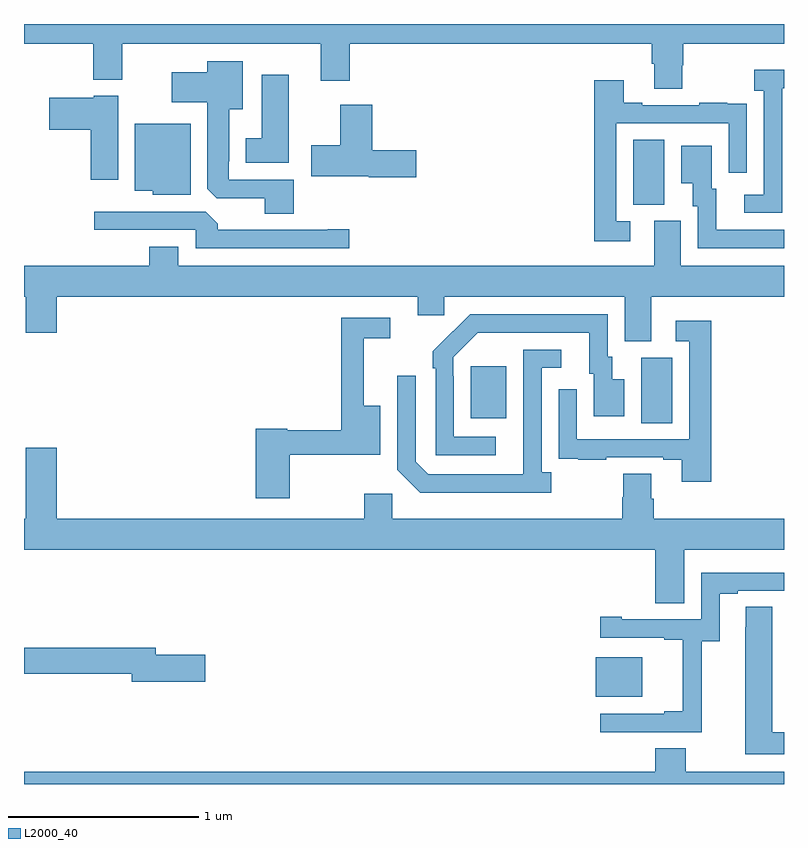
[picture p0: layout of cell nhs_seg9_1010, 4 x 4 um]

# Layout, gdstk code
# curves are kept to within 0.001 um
import gdstk
lib = gdstk.Library(unit=1e-6, precision=1e-09)
def R(c, l, rs):  # rectangles x0, y0, x1, y1
    for r in rs: c.add(gdstk.rectangle(r[:2], r[2:], *l))
def P(c, l, *ps):  # polygons
    for p in ps: c.add(gdstk.Polygon(p, *l))
L2000_40 = (2000, 40)

nhs_seg9_1010 = lib.new_cell('nhs_seg9_1010')
R(nhs_seg9_1010, L2000_40, [(168.008,1216.958,168.253,1217.167), (168.248,1218.4,168.412,1218.744), (167.351,1218.425,167.539,1218.7), (168.206,1219.549,168.37,1219.892)])
P(nhs_seg9_1010, L2000_40, [(168.465,1220.283),(168.47,1220.283),(168.47,1220.396),(169,1220.396),(169,1220.5),(165,1220.5),(165,1220.396),(165.365,1220.396),(165.365,1220.207),(165.517,1220.207),(165.517,1220.396),(166.562,1220.396),(166.562,1220.202),(166.715,1220.202),(166.715,1220.396),(168.305,1220.396),(168.305,1220.29),(168.317,1220.29),(168.317,1220.158),(168.465,1220.158)],
  [(166.421,1219.68),(166.077,1219.68),(166.077,1219.777),(166.081,1219.777),(166.081,1220.051),(166.15,1220.051),(166.15,1220.305),(165.965,1220.305),(165.965,1220.245),(165.777,1220.245),(165.777,1220.087),(165.965,1220.087),(165.965,1219.633),(166.014,1219.584),(166.268,1219.584),(166.268,1219.501),(166.421,1219.501)],
  [(168.99,1219.963),(168.991,1219.963),(168.991,1220.163),(169,1220.163),(169,1220.26),(168.843,1220.26),(168.843,1220.15),(168.894,1220.15),(168.894,1219.602),(168.792,1219.602),(168.792,1219.506),(168.99,1219.506)],
  [(166.393,1220.233),(166.25,1220.233),(166.25,1219.9),(166.166,1219.9),(166.166,1219.769),(166.393,1219.769)],
  [(168.19,1219.461),(168.117,1219.461),(168.117,1219.977),(168.708,1219.977),(168.708,1219.716),(168.804,1219.716),(168.804,1219.97),(168.803,1219.97),(168.803,1220.079),(168.701,1220.079),(168.701,1220.086),(168.553,1220.086),(168.553,1220.073),(168.253,1220.073),(168.253,1220.086),(168.157,1220.086),(168.157,1220.203),(168.001,1220.203),(168.001,1219.356),(168.19,1219.356)],
  [(165.496,1220.122),(165.366,1220.122),(165.366,1220.113),(165.132,1220.113),(165.132,1219.943),(165.35,1219.943),(165.35,1219.68),(165.496,1219.68)],
  [(167.065,1219.835),(166.832,1219.835),(166.832,1220.074),(166.664,1220.074),(166.664,1219.863),(166.512,1219.863),(166.512,1219.7),(166.815,1219.7),(166.815,1219.693),(167.065,1219.693)],
  [(165.877,1219.975),(165.584,1219.975),(165.584,1219.622),(165.678,1219.622),(165.678,1219.601),(165.877,1219.601)],
  [(169,1219.416),(168.643,1219.416),(168.643,1219.632),(168.619,1219.632),(168.619,1219.858),(168.458,1219.858),(168.458,1219.661),(168.521,1219.661),(168.521,1219.542),(168.546,1219.542),(168.546,1219.32),(169,1219.32)],
  [(166.711,1219.421),(166.598,1219.421),(166.598,1219.416),(166.019,1219.416),(166.019,1219.45),(165.957,1219.512),(165.369,1219.512),(165.369,1219.416),(165.903,1219.416),(165.903,1219.32),(166.711,1219.32)],
  [(168.301,1219.064),(169,1219.064),(169,1219.228),(168.457,1219.228),(168.457,1219.464),(168.317,1219.464),(168.317,1219.228),(165.811,1219.228),(165.811,1219.327),(165.659,1219.327),(165.659,1219.228),(165,1219.228),(165,1219.064),(165.008,1219.064),(165.008,1218.876),(165.172,1218.876),(165.172,1219.064),(167.072,1219.064),(167.072,1218.966),(167.211,1218.966),(167.211,1219.064),(168.161,1219.064),(168.161,1218.829),(168.301,1218.829)],
  [(167.482,1218.327),(167.262,1218.327),(167.262,1218.647),(167.259,1218.647),(167.259,1218.747),(167.388,1218.876),(167.975,1218.876),(167.975,1218.66),(167.999,1218.66),(167.999,1218.435),(168.16,1218.435),(168.16,1218.631),(168.097,1218.631),(168.097,1218.75),(168.072,1218.75),(168.072,1218.972),(167.348,1218.972),(167.151,1218.777),(167.151,1218.689),(167.166,1218.689),(167.166,1218.231),(167.482,1218.231)],
  [(166.398,1218.234),(166.876,1218.234),(166.876,1218.49),(166.787,1218.49),(166.787,1218.846),(166.927,1218.846),(166.927,1218.954),(166.669,1218.954),(166.669,1218.362),(166.386,1218.362),(166.386,1218.37),(166.22,1218.37),(166.22,1218.003),(166.398,1218.003)],
  [(168.617,1218.937),(168.429,1218.937),(168.429,1218.831),(168.501,1218.831),(168.501,1218.315),(167.91,1218.315),(167.91,1218.577),(167.814,1218.577),(167.814,1218.322),(167.815,1218.322),(167.815,1218.213),(167.917,1218.213),(167.917,1218.207),(168.065,1218.207),(168.065,1218.219),(168.365,1218.219),(168.365,1218.207),(168.461,1218.207),(168.461,1218.09),(168.617,1218.09)],
  [(167.776,1218.142),(167.724,1218.142),(167.724,1218.69),(167.827,1218.69),(167.827,1218.786),(167.628,1218.786),(167.627,1218.129),(167.127,1218.129),(167.061,1218.195),(167.061,1218.649),(166.965,1218.649),(166.965,1218.153),(167.086,1218.032),(167.776,1218.032)],
  [(168.475,1217.732),(169,1217.732),(169,1217.896),(168.314,1217.896),(168.314,1218.002),(168.301,1218.002),(168.301,1218.134),(168.154,1218.134),(168.154,1218.009),(168.149,1218.009),(168.149,1217.896),(166.938,1217.896),(166.938,1218.028),(166.792,1218.028),(166.792,1217.896),(165.172,1217.896),(165.172,1218.271),(165.008,1218.271),(165.008,1217.896),(165,1217.896),(165,1217.732),(168.323,1217.732),(168.323,1217.452),(168.475,1217.452)],
  [(168.567,1217.251),(168.661,1217.251),(168.661,1217.502),(168.757,1217.502),(168.757,1217.517),(169,1217.517),(169,1217.613),(168.564,1217.613),(168.564,1217.367),(168.145,1217.367),(168.145,1217.38),(168.033,1217.38),(168.033,1217.271),(168.371,1217.271),(168.371,1217.259),(168.467,1217.259),(168.467,1216.882),(168.371,1216.882),(168.371,1216.869),(168.033,1216.869),(168.033,1216.773),(168.567,1216.773)],
  [(169,1216.772),(168.937,1216.772),(168.937,1217.432),(168.798,1217.432),(168.798,1217.324),(168.797,1217.324),(168.797,1216.656),(169,1216.656)],
  [(165.955,1217.18),(165.694,1217.18),(165.694,1217.216),(165,1217.216),(165,1217.08),(165.566,1217.08),(165.566,1217.038),(165.955,1217.038)],
  [(169,1216.564),(168.483,1216.564),(168.483,1216.688),(168.323,1216.688),(168.323,1216.564),(165,1216.564),(165,1216.5),(169,1216.5)])

lib.write_gds('nhs_seg9_1010.gds')
